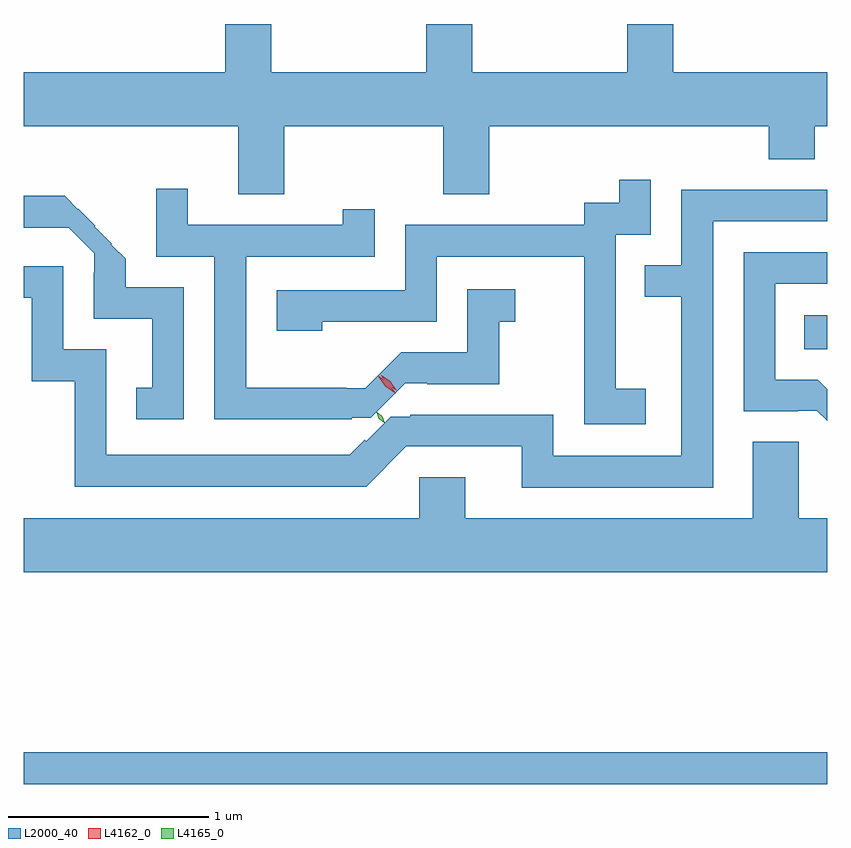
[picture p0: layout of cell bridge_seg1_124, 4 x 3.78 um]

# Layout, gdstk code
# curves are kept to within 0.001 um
import gdstk
lib = gdstk.Library(unit=1e-6, precision=1e-09)
def R(c, l, rs):  # rectangles x0, y0, x1, y1
    for r in rs: c.add(gdstk.rectangle(r[:2], r[2:], *l))
def P(c, l, *ps):  # polygons
    for p in ps: c.add(gdstk.Polygon(p, *l))
L2000_40 = (2000, 40)
L4162_0 = (4162, 0)
L4165_0 = (4165, 0)

bridge_seg1_124 = lib.new_cell('bridge_seg1_124')
R(bridge_seg1_124, L2000_40, [(1434.202,845.241,1438.202,845.399), (1438.088,847.406,1438.202,847.574)])
P(bridge_seg1_124, L2000_40, [(1435.499,848.516),(1436.291,848.516),(1436.291,848.176),(1436.519,848.176),(1436.519,848.516),(1437.911,848.516),(1437.911,848.351),(1438.139,848.351),(1438.139,848.516),(1438.202,848.516),(1438.202,848.784),(1437.434,848.784),(1437.434,849.024),(1437.206,849.024),(1437.206,848.784),(1436.434,848.784),(1436.434,849.024),(1436.206,849.024),(1436.206,848.784),(1435.434,848.784),(1435.434,849.024),(1435.206,849.024),(1435.206,848.784),(1434.202,848.784),(1434.202,848.516),(1435.271,848.516),(1435.271,848.176),(1435.499,848.176)],
  [(1437.299,847.209),(1437.149,847.209),(1437.149,847.976),(1437.324,847.976),(1437.324,848.248),(1437.166,848.248),(1437.166,848.134),(1436.991,848.134),(1436.991,848.024),(1436.101,848.024),(1436.101,847.699),(1435.461,847.699),(1435.461,847.496),(1435.689,847.496),(1435.689,847.541),(1436.259,847.541),(1436.259,847.866),(1436.991,847.866),(1436.991,847.031),(1437.299,847.031)],
  [(1435.835,847.063),(1435.93,847.063),(1436.102,847.235),(1436.21,847.235),(1436.21,847.231),(1436.569,847.231),(1436.569,847.541),(1436.648,847.541),(1436.648,847.704),(1436.411,847.704),(1436.411,847.389),(1436.081,847.389),(1435.902,847.21),(1435.807,847.21),(1435.807,847.214),(1435.309,847.214),(1435.309,847.866),(1435.949,847.866),(1435.949,848.103),(1435.791,848.103),(1435.791,848.024),(1435.019,848.024),(1435.019,848.203),(1434.861,848.203),(1434.861,847.866),(1435.151,847.866),(1435.151,847.056),(1435.835,847.056)],
  [(1437.634,848.041),(1438.202,848.041),(1438.202,848.199),(1437.476,848.199),(1437.476,847.824),(1437.293,847.824),(1437.293,847.666),(1437.476,847.666),(1437.476,846.874),(1436.839,846.874),(1436.839,847.079),(1436.125,847.078),(1436.125,847.069),(1436.03,847.069),(1435.907,846.947),(1435.9,846.954),(1435.825,846.879),(1434.614,846.879),(1434.614,847.404),(1434.399,847.404),(1434.399,847.819),(1434.202,847.819),(1434.202,847.661),(1434.241,847.661),(1434.241,847.246),(1434.456,847.246),(1434.456,846.721),(1435.907,846.721),(1436.107,846.921),(1436.681,846.921),(1436.681,846.716),(1437.634,846.716)],
  [(1434.999,847.714),(1434.709,847.714),(1434.709,847.855),(1434.638,847.926),(1434.64,847.929),(1434.555,848.015),(1434.559,848.019),(1434.473,848.105),(1434.472,848.103),(1434.406,848.169),(1434.202,848.169),(1434.202,848.011),(1434.425,848.01),(1434.552,847.884),(1434.551,847.556),(1434.841,847.556),(1434.841,847.214),(1434.763,847.214),(1434.763,847.056),(1434.999,847.056)],
  [(1438.202,847.206),(1438.154,847.254),(1437.944,847.254),(1437.944,847.731),(1438.202,847.731),(1438.202,847.889),(1437.786,847.889),(1437.786,847.096),(1438.055,847.096),(1438.055,847.1),(1438.15,847.1),(1438.202,847.048)],
  [(1438.202,846.564),(1438.059,846.564),(1438.059,846.944),(1437.831,846.944),(1437.831,846.564),(1436.399,846.564),(1436.399,846.769),(1436.171,846.769),(1436.171,846.564),(1434.202,846.564),(1434.202,846.296),(1438.202,846.296)])
P(bridge_seg1_124, L4162_0, [(1436.052,847.186),(1436.002,847.222),(1435.966,847.271),(1435.966,847.272),(1435.967,847.272),(1436.016,847.236),(1436.053,847.187),(1436.053,847.186)],
  [(1436.059,847.198),(1436.012,847.232),(1435.979,847.278),(1435.979,847.279),(1435.98,847.279),(1436.026,847.246),(1436.06,847.199),(1436.06,847.198)])
P(bridge_seg1_124, L4165_0, [(1435.999,847.038),(1435.971,847.06),(1435.957,847.094),(1435.957,847.094),(1435.958,847.094),(1435.987,847.072),(1436,847.038),(1436,847.038)],
  [(1435.997,847.039),(1435.97,847.06),(1435.96,847.092),(1435.96,847.093),(1435.96,847.093),(1435.987,847.071),(1435.998,847.039),(1435.998,847.039)])

lib.write_gds('bridge_seg1_124.gds')
